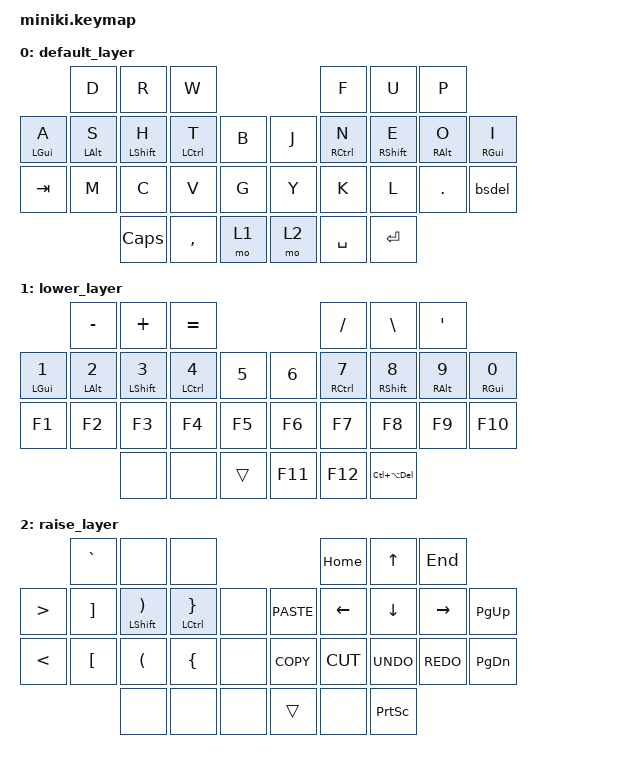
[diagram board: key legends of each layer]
/*
 * Copyright (c) 2021 The ZMK Contributors
 *
 * SPDX-License-Identifier: MIT
 */

#include <behaviors.dtsi>
#include <dt-bindings/zmk/keys.h>
#include <dt-bindings/zmk/bt.h>

/ {
        combos {
                    compatible = "zmk,combos";

                    combo_btclr {
                        timeout-ms = <50>;
                        key-positions = <10 20>;
                        layers = <0>;
                        bindings = <&bt BT_CLR>;
                    };
                    combo_bt1 {
                        timeout-ms = <50>;
                        key-positions = <0 7>;
                        layers = <0>;
                        bindings = <&bt BT_SEL 0>;
                    };
                    combo_bt2 {
                        timeout-ms = <50>;
                        key-positions = <1 8>;
                        layers = <0>;
                        bindings = <&bt BT_SEL 1>;
                    };
                    combo_bt3 {
                        timeout-ms = <50>;
                        key-positions = <2 9>;
                        layers = <0>;
                        bindings = <&bt BT_SEL 2>;
                    };
                    combo_ESC {
                        timeout-ms = <50>;
                        key-positions = <6 16>;
                        layers = <0>;
                        bindings = <&kp ESC>;
                    };
                    combo_INS {
                        timeout-ms = <50>;
                        key-positions = <15 25>;
                        layers = <0>;
                        bindings = <&kp INS>;
                    };
                    combo_Z {
                        timeout-ms = <50>;
                        key-positions = <17 18>;
                        layers = <0>;
                        bindings = <&kp Z>;
                    };
                    combo_X {
                        timeout-ms = <50>;
                        key-positions = <18 19>;
                        layers = <0>;
                        bindings = <&kp Z>;
                    };
                    combo_Q {
                        timeout-ms = <50>;
                        key-positions = <3 4>;
                        layers = <0>;
                        bindings = <&kp Q>;
                    };
                };

                behaviors {
                    hm: homerow_mods {
                        compatible = "zmk,behavior-hold-tap";
                        label = "HOMEROW_MODS";
                        #binding-cells = <2>;
                        tapping-term-ms = <250>;
                        quick_tap_ms = <0>;
                        flavor = "tap-preferred";
                        bindings = <&kp>, <&kp>;
                    };

                    // LET OP het kan zijn dat er in plaats van een 'delete' een 'shift-delete' wordt verstuurd, vaak betekent dat 'wis hele regel'
                    // in dat geval deze behaviour verwijderen, en de 'delete' toets ergens anders realiseren.
                    bsdel: bs_del {
                        compatible = "zmk,behavior-mod-morph";
                        label = "BACKPACE-DELETE";
                        #binding-cells = <0>;
                        bindings = <&kp BSPC>, <&kp DEL>;
                        mods = <(MOD_LSFT|MOD_RSFT)>;
                    };
                };

                keymap {
                compatible = "zmk,keymap";

                default_layer {
// -----------------------------------------------------------------------------------------
//        |  D  |  R  |  W  |     |   |     |  F  |  U  |  P  |
// |  A   |  S  |  H  |  T  |  B  |   |  J  |  N  |  E  |  O  |  I  |
// |  TAB |  M  |  C  |  V  |  G  |   |  Y  |  K  |  L  |  .  |  BS |
//              | CAPS|  ,  |  L1 |   |  L2 | SPC | ENT |
                        bindings = <
               &kp D       &kp R        &kp W                        &kp F        &kp U        &kp P
   &hm LGUI A  &hm LALT S  &hm LSHFT H  &hm LCTRL T  &kp B    &kp J  &hm RCTRL N  &hm RSHFT E  &hm RALT O  &hm RGUI I
   &kp TAB     &kp M       &kp C        &kp V        &kp G    &kp Y  &kp K        &kp L        &kp DOT     &bsdel
                           &kp CAPS     &kp COMMA    &mo 1    &mo 2  &kp SPACE    &kp RET
                        >;
                };

                lower_layer {
// -----------------------------------------------------------------------------------------
//        |  -_ |  +  |  =  |               |  /? |  \|  | '"  |
// |  1   |  2  |  3  |  4  |  5  |   |  6  |  7  |  8   |  9  |  0  |
// |  F1  |  F2 |  F3 |  F4 |  F5 |   |  F6 |  F7 |  F8  |  F9 | F10 |
//              |     |     |XXXXX|   | F11 | F12 |C/A/D |
                        bindings = <
                &kp MINUS    &kp PLUS      &kp EQUAL                         &kp FSLH      &kp BSLH      &kp SQT
   &hm LGUI N1  &hm LALT N2  &hm LSHFT N3  &hm LCTRL N4  &kp N5     &kp N6   &hm RCTRL N7  &hm RSHFT N8  &hm RALT N9  &hm RGUI N0
   &kp F1       &kp F2       &kp F3        &kp F4        &kp F5     &kp F6   &kp F7        &kp F8        &kp F9       &kp F10
                             &none         &none         &trans     &kp F11  &kp F12       &kp LC(LA(DEL))
                        >;
                };

                raise_layer {
// -----------------------------------------------------------------------------------------
//        |  ~` |     |     |               | HOME |  UP   |  END  |
// |  <   |  [  |  (  |  {  |     |   | PST | LEFT | DOWN | RIGHT | PGUP |
// |  >   |  ]  |  )  |  }  |     |   | CPY |  CUT | UNDO  | REDO  | PGDN |
//              |     |     |     |   |XXXXX|      | PSCRN |
                        bindings = <
           &kp GRAVE  &none           &none                                   &kp HOME   &kp UP      &kp END
   &kp GT  &kp RBKT   &hm LSHFT RPAR  &hm LCTRL RBRC  &none      &kp K_PASTE  &kp LEFT   &kp DOWN    &kp RIGHT   &kp PG_UP
   &kp LT  &kp LBKT   &kp LPAR        &kp LBRC        &none      &kp K_COPY   &kp K_CUT  &kp K_UNDO  &kp K_REDO  &kp PG_DN
                      &none           &none           &none      &trans       &none      &kp PSCRN
                        >;
                };
        };
};
